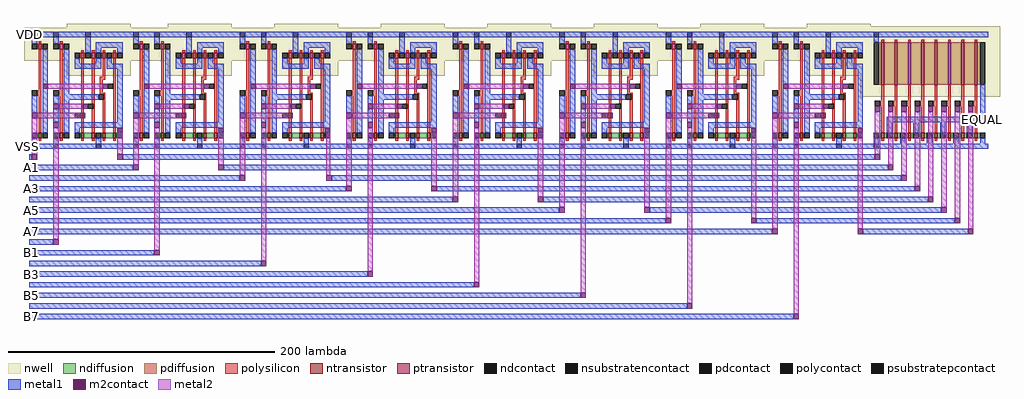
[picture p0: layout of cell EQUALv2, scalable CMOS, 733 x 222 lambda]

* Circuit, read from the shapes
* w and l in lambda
.subckt EQUALv2 A0 A1 A2 A3 A4 A5 A6 A7 B0 B1 B2 B3 B4 B5 B6 B7 EQUAL VDD VSS
M1 XOR2_0/INV_1/Y A0 VSS VSS nfet w=4 l=2
M2 XOR2_0/INV_0/Y B0 VSS VSS nfet w=4 l=2
M3 n1 A0 NOR8_0/A VSS nfet w=4 l=2
M4 VSS B0 n1 VSS nfet w=4 l=2
M5 n2 XOR2_0/INV_0/Y VSS VSS nfet w=4 l=2
M6 NOR8_0/A XOR2_0/INV_1/Y n2 VSS nfet w=4 l=2
M7 XOR2_1/INV_1/Y A1 VSS VSS nfet w=4 l=2
M8 XOR2_1/INV_0/Y B1 VSS VSS nfet w=4 l=2
M9 n3 A1 NOR8_0/B VSS nfet w=4 l=2
M10 VSS B1 n3 VSS nfet w=4 l=2
M11 n4 XOR2_1/INV_0/Y VSS VSS nfet w=4 l=2
M12 NOR8_0/B XOR2_1/INV_1/Y n4 VSS nfet w=4 l=2
M13 XOR2_2/INV_1/Y A2 VSS VSS nfet w=4 l=2
M14 XOR2_2/INV_0/Y B2 VSS VSS nfet w=4 l=2
M15 n5 A2 NOR8_0/C VSS nfet w=4 l=2
M16 VSS B2 n5 VSS nfet w=4 l=2
M17 n6 XOR2_2/INV_0/Y VSS VSS nfet w=4 l=2
M18 NOR8_0/C XOR2_2/INV_1/Y n6 VSS nfet w=4 l=2
M19 XOR2_3/INV_1/Y A3 VSS VSS nfet w=4 l=2
M20 XOR2_3/INV_0/Y B3 VSS VSS nfet w=4 l=2
M21 n7 A3 NOR8_0/D VSS nfet w=4 l=2
M22 VSS B3 n7 VSS nfet w=4 l=2
M23 n8 XOR2_3/INV_0/Y VSS VSS nfet w=4 l=2
M24 NOR8_0/D XOR2_3/INV_1/Y n8 VSS nfet w=4 l=2
M25 XOR2_4/INV_1/Y A4 VSS VSS nfet w=4 l=2
M26 XOR2_4/INV_0/Y B4 VSS VSS nfet w=4 l=2
M27 n9 A4 NOR8_0/E VSS nfet w=4 l=2
M28 VSS B4 n9 VSS nfet w=4 l=2
M29 n10 XOR2_4/INV_0/Y VSS VSS nfet w=4 l=2
M30 NOR8_0/E XOR2_4/INV_1/Y n10 VSS nfet w=4 l=2
M31 XOR2_5/INV_1/Y A5 VSS VSS nfet w=4 l=2
M32 XOR2_5/INV_0/Y B5 VSS VSS nfet w=4 l=2
M33 n11 A5 NOR8_0/F VSS nfet w=4 l=2
M34 VSS B5 n11 VSS nfet w=4 l=2
M35 n12 XOR2_5/INV_0/Y VSS VSS nfet w=4 l=2
M36 NOR8_0/F XOR2_5/INV_1/Y n12 VSS nfet w=4 l=2
M37 XOR2_6/INV_1/Y A6 VSS VSS nfet w=4 l=2
M38 XOR2_6/INV_0/Y B6 VSS VSS nfet w=4 l=2
M39 n13 A6 NOR8_0/G VSS nfet w=4 l=2
M40 VSS B6 n13 VSS nfet w=4 l=2
M41 n14 XOR2_6/INV_0/Y VSS VSS nfet w=4 l=2
M42 NOR8_0/G XOR2_6/INV_1/Y n14 VSS nfet w=4 l=2
M43 XOR2_7/INV_1/Y A7 VSS VSS nfet w=4 l=2
M44 XOR2_7/INV_0/Y B7 VSS VSS nfet w=4 l=2
M45 n15 A7 NOR8_0/H VSS nfet w=4 l=2
M46 VSS B7 n15 VSS nfet w=4 l=2
M47 n16 XOR2_7/INV_0/Y VSS VSS nfet w=4 l=2
M48 NOR8_0/H XOR2_7/INV_1/Y n16 VSS nfet w=4 l=2
M49 EQUAL NOR8_0/A VSS VSS nfet w=4 l=2
M50 VSS NOR8_0/B EQUAL VSS nfet w=4 l=2
M51 EQUAL NOR8_0/C VSS VSS nfet w=4 l=2
M52 VSS NOR8_0/D EQUAL VSS nfet w=4 l=2
M53 EQUAL NOR8_0/E VSS VSS nfet w=4 l=2
M54 VSS NOR8_0/F EQUAL VSS nfet w=4 l=2
M55 EQUAL NOR8_0/G VSS VSS nfet w=4 l=2
M56 VSS NOR8_0/H EQUAL VSS nfet w=4 l=2
M57 XOR2_0/INV_1/Y A0 VDD VDD pfet w=4 l=2
M58 XOR2_0/INV_0/Y B0 VDD VDD pfet w=4 l=2
M59 VDD A0 n17 VDD pfet w=4 l=2
M60 n17 B0 VDD VDD pfet w=4 l=2
M61 NOR8_0/A XOR2_0/INV_0/Y n17 VDD pfet w=4 l=2
M62 n17 XOR2_0/INV_1/Y NOR8_0/A VDD pfet w=4 l=2
M63 XOR2_1/INV_1/Y A1 VDD VDD pfet w=4 l=2
M64 XOR2_1/INV_0/Y B1 VDD VDD pfet w=4 l=2
M65 VDD A1 n18 VDD pfet w=4 l=2
M66 n18 B1 VDD VDD pfet w=4 l=2
M67 NOR8_0/B XOR2_1/INV_0/Y n18 VDD pfet w=4 l=2
M68 n18 XOR2_1/INV_1/Y NOR8_0/B VDD pfet w=4 l=2
M69 XOR2_2/INV_1/Y A2 VDD VDD pfet w=4 l=2
M70 XOR2_2/INV_0/Y B2 VDD VDD pfet w=4 l=2
M71 VDD A2 n19 VDD pfet w=4 l=2
M72 n19 B2 VDD VDD pfet w=4 l=2
M73 NOR8_0/C XOR2_2/INV_0/Y n19 VDD pfet w=4 l=2
M74 n19 XOR2_2/INV_1/Y NOR8_0/C VDD pfet w=4 l=2
M75 XOR2_3/INV_1/Y A3 VDD VDD pfet w=4 l=2
M76 XOR2_3/INV_0/Y B3 VDD VDD pfet w=4 l=2
M77 VDD A3 n20 VDD pfet w=4 l=2
M78 n20 B3 VDD VDD pfet w=4 l=2
M79 NOR8_0/D XOR2_3/INV_0/Y n20 VDD pfet w=4 l=2
M80 n20 XOR2_3/INV_1/Y NOR8_0/D VDD pfet w=4 l=2
M81 XOR2_4/INV_1/Y A4 VDD VDD pfet w=4 l=2
M82 XOR2_4/INV_0/Y B4 VDD VDD pfet w=4 l=2
M83 VDD A4 n21 VDD pfet w=4 l=2
M84 n21 B4 VDD VDD pfet w=4 l=2
M85 NOR8_0/E XOR2_4/INV_0/Y n21 VDD pfet w=4 l=2
M86 n21 XOR2_4/INV_1/Y NOR8_0/E VDD pfet w=4 l=2
M87 XOR2_5/INV_1/Y A5 VDD VDD pfet w=4 l=2
M88 XOR2_5/INV_0/Y B5 VDD VDD pfet w=4 l=2
M89 VDD A5 n22 VDD pfet w=4 l=2
M90 n22 B5 VDD VDD pfet w=4 l=2
M91 NOR8_0/F XOR2_5/INV_0/Y n22 VDD pfet w=4 l=2
M92 n22 XOR2_5/INV_1/Y NOR8_0/F VDD pfet w=4 l=2
M93 XOR2_6/INV_1/Y A6 VDD VDD pfet w=4 l=2
M94 XOR2_6/INV_0/Y B6 VDD VDD pfet w=4 l=2
M95 VDD A6 n23 VDD pfet w=4 l=2
M96 n23 B6 VDD VDD pfet w=4 l=2
M97 NOR8_0/G XOR2_6/INV_0/Y n23 VDD pfet w=4 l=2
M98 n23 XOR2_6/INV_1/Y NOR8_0/G VDD pfet w=4 l=2
M99 XOR2_7/INV_1/Y A7 VDD VDD pfet w=4 l=2
M100 XOR2_7/INV_0/Y B7 VDD VDD pfet w=4 l=2
M101 VDD A7 n24 VDD pfet w=4 l=2
M102 n24 B7 VDD VDD pfet w=4 l=2
M103 NOR8_0/H XOR2_7/INV_0/Y n24 VDD pfet w=4 l=2
M104 n24 XOR2_7/INV_1/Y NOR8_0/H VDD pfet w=4 l=2
M105 n25 NOR8_0/A VDD VDD pfet w=32 l=2
M106 n26 NOR8_0/B n25 VDD pfet w=32 l=2
M107 n27 NOR8_0/C n26 VDD pfet w=32 l=2
M108 n28 NOR8_0/D n27 VDD pfet w=32 l=2
M109 n29 NOR8_0/E n28 VDD pfet w=32 l=2
M110 n30 NOR8_0/F n29 VDD pfet w=32 l=2
M111 n31 NOR8_0/G n30 VDD pfet w=32 l=2
M112 EQUAL NOR8_0/H n31 VDD pfet w=32 l=2
.ends

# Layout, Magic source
magic
tech scmos
<< nwell >>
rect 2 84 724 88
<< metal1 >>
rect 2 84 724 88
rect 22 20 26 30
rect 98 20 102 30
rect 178 20 182 30
rect 258 20 262 30
rect 338 20 342 30
rect 418 20 422 30
rect 498 20 502 30
rect 578 20 582 30
rect 718 20 722 24
rect 2 0 718 4
rect 722 0 724 4
rect 4 -8 6 -4
rect 74 -8 639 -4
rect 4 -16 82 -12
rect 150 -16 649 -12
rect 4 -24 162 -20
rect 231 -24 659 -20
rect 4 -32 242 -28
rect 310 -32 669 -28
rect 4 -40 322 -36
rect 390 -40 679 -36
rect 4 -48 402 -44
rect 470 -48 689 -44
rect 4 -56 482 -52
rect 550 -56 699 -52
rect 4 -64 562 -60
rect 630 -64 709 -60
rect 4 -72 22 -68
rect 4 -80 98 -76
rect 4 -88 178 -84
rect 4 -96 258 -92
rect 4 -104 338 -100
rect 4 -112 418 -108
rect 4 -120 498 -116
rect 4 -128 578 -124
<< m2contact >>
rect 22 16 26 20
rect 98 16 102 20
rect 178 16 182 20
rect 258 16 262 20
rect 338 16 342 20
rect 418 16 422 20
rect 498 16 502 20
rect 639 28 643 32
rect 649 28 653 32
rect 659 28 663 32
rect 669 28 673 32
rect 679 28 683 32
rect 689 28 693 32
rect 699 28 703 32
rect 709 28 713 32
rect 578 16 582 20
rect 70 12 74 16
rect 146 12 150 16
rect 226 12 230 16
rect 306 12 310 16
rect 386 12 390 16
rect 466 12 470 16
rect 546 12 550 16
rect 626 12 630 16
rect 6 -8 10 -4
rect 70 -8 74 -4
rect 639 -8 643 -4
rect 82 -16 86 -12
rect 146 -16 150 -12
rect 649 -16 653 -12
rect 162 -24 166 -20
rect 227 -24 231 -20
rect 659 -24 663 -20
rect 242 -32 246 -28
rect 306 -32 310 -28
rect 669 -32 673 -28
rect 322 -40 326 -36
rect 386 -40 390 -36
rect 679 -40 683 -36
rect 402 -48 406 -44
rect 466 -48 470 -44
rect 689 -48 693 -44
rect 482 -56 486 -52
rect 546 -56 550 -52
rect 699 -56 703 -52
rect 562 -64 566 -60
rect 626 -64 630 -60
rect 709 -64 713 -60
rect 22 -72 26 -68
rect 98 -80 102 -76
rect 178 -88 182 -84
rect 258 -96 262 -92
rect 338 -104 342 -100
rect 418 -112 422 -108
rect 498 -120 502 -116
rect 578 -128 582 -124
<< metal2 >>
rect 6 -4 10 23
rect 22 -68 26 16
rect 70 -4 74 12
rect 82 -12 86 23
rect 98 -76 102 16
rect 146 -12 150 12
rect 162 -20 166 23
rect 178 -84 182 16
rect 227 -20 230 12
rect 242 -28 246 23
rect 258 -92 262 16
rect 306 -28 310 12
rect 322 -36 326 23
rect 338 -100 342 16
rect 386 -36 390 12
rect 402 -44 406 23
rect 418 -108 422 16
rect 466 -44 470 12
rect 482 -52 486 23
rect 498 -116 502 16
rect 546 -52 550 12
rect 562 -60 566 23
rect 578 -124 582 16
rect 626 -60 630 12
rect 639 -4 643 28
rect 649 -12 653 28
rect 659 -20 663 28
rect 669 -28 673 28
rect 679 -36 683 28
rect 689 -44 693 28
rect 699 -52 703 28
rect 709 -60 713 28
use XOR2  XOR2_0
transform 1 0 36 0 1 0
box -36 0 44 94
use XOR2  XOR2_1
transform 1 0 112 0 1 0
box -36 0 44 94
use XOR2  XOR2_2
transform 1 0 192 0 1 0
box -36 0 44 94
use XOR2  XOR2_3
transform 1 0 272 0 1 0
box -36 0 44 94
use XOR2  XOR2_4
transform 1 0 352 0 1 0
box -36 0 44 94
use XOR2  XOR2_5
transform 1 0 432 0 1 0
box -36 0 44 94
use XOR2  XOR2_6
transform 1 0 512 0 1 0
box -36 0 44 94
use XOR2  XOR2_7
transform 1 0 592 0 1 0
box -36 0 44 94
use NOR8  NOR8_0
transform 1 0 636 0 1 0
box -8 0 97 92
<< labels >>
rlabel metal1 720 22 720 22 1 EQUAL
rlabel metal1 4 86 4 86 3 VDD
rlabel metal1 3 2 3 2 3 VSS
rlabel metal1 5 -6 5 -6 3 A0
rlabel metal1 6 -14 6 -14 1 A1
rlabel metal1 6 -22 6 -22 1 A2
rlabel metal1 6 -30 6 -30 1 A3
rlabel metal1 6 -38 6 -38 1 A4
rlabel metal1 6 -46 6 -46 1 A5
rlabel metal1 6 -54 6 -54 1 A6
rlabel metal1 6 -62 6 -62 1 A7
rlabel metal1 6 -70 6 -70 1 B0
rlabel metal1 6 -78 6 -78 1 B1
rlabel metal1 6 -86 6 -86 1 B2
rlabel metal1 6 -94 6 -94 1 B3
rlabel metal1 6 -102 6 -102 1 B4
rlabel metal1 6 -110 6 -110 1 B5
rlabel metal1 6 -118 6 -118 1 B6
rlabel metal1 6 -126 6 -126 1 B7
<< end >>

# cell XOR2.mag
magic
tech scmos
<< nwell >>
rect -4 55 44 94
<< ntransistor >>
rect 7 8 9 12
rect 15 8 17 12
rect 23 8 25 12
rect 31 8 33 12
<< ptransistor >>
rect 7 68 9 72
rect 15 68 17 72
rect 23 68 25 72
rect 31 68 33 72
<< ndiffusion >>
rect 6 8 7 12
rect 9 8 15 12
rect 17 8 18 12
rect 22 8 23 12
rect 25 8 31 12
rect 33 8 34 12
<< pdiffusion >>
rect 6 68 7 72
rect 9 68 10 72
rect 14 68 15 72
rect 17 68 18 72
rect 22 68 23 72
rect 25 68 26 72
rect 30 68 31 72
rect 33 68 34 72
<< ndcontact >>
rect 2 8 6 12
rect 18 8 22 12
rect 34 8 38 12
<< pdcontact >>
rect 2 68 6 72
rect 10 68 14 72
rect 18 68 22 72
rect 26 68 30 72
rect 34 68 38 72
<< psubstratepcontact >>
rect 18 0 22 4
<< nsubstratencontact >>
rect 10 84 14 88
<< polysilicon >>
rect 7 72 9 74
rect 15 72 17 74
rect 23 72 25 74
rect 31 72 33 74
rect 7 27 9 68
rect 15 34 17 68
rect 23 54 25 68
rect 21 52 25 54
rect 21 42 23 52
rect 21 41 25 42
rect 24 37 25 41
rect 16 30 17 34
rect 6 23 9 27
rect 7 12 9 23
rect 15 12 17 30
rect 23 12 25 37
rect 31 12 33 68
rect 7 6 9 8
rect 15 6 17 8
rect 23 6 25 8
rect 31 6 33 8
<< polycontact >>
rect 27 45 31 49
rect 20 37 24 41
rect 12 30 16 34
rect 2 23 6 27
<< metal1 >>
rect 0 84 10 88
rect 14 84 40 88
rect 10 72 14 84
rect 18 76 38 80
rect 18 72 22 76
rect 34 72 38 76
rect 2 64 6 68
rect 18 64 22 68
rect 2 60 22 64
rect 26 64 30 68
rect 26 60 38 64
rect -30 27 -26 40
rect -14 34 -10 40
rect -2 37 20 41
rect 34 20 38 60
rect 2 16 38 20
rect 2 12 6 16
rect 34 12 38 16
rect 18 4 22 8
rect 0 0 18 4
rect 22 0 40 4
<< m2contact >>
rect -22 45 -18 49
rect 23 45 27 49
rect -14 30 -10 34
rect 8 30 12 34
rect -30 23 -26 27
rect 6 23 10 27
<< metal2 >>
rect -18 45 23 49
rect -10 30 8 34
rect -26 23 6 27
use INV  INV_0
transform 1 0 -16 0 1 0
box -4 0 20 91
use INV  INV_1
transform 1 0 -32 0 1 0
box -4 0 20 91
<< labels >>
rlabel psubstratepcontact 20 2 20 2 1 VSS
rlabel metal1 36 40 36 40 1 Y
rlabel metal1 12 86 12 86 1 VDD
rlabel m2contact -12 32 -12 32 1 B
rlabel m2contact -28 25 -28 25 1 A
<< end >>

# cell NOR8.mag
magic
tech scmos
<< nwell >>
rect -8 39 97 92
<< ntransistor >>
rect 8 8 10 12
rect 18 8 20 12
rect 28 8 30 12
rect 38 8 40 12
rect 48 8 50 12
rect 58 8 60 12
rect 68 8 70 12
rect 78 8 80 12
<< ptransistor >>
rect 8 48 10 80
rect 18 48 20 80
rect 28 48 30 80
rect 38 48 40 80
rect 48 48 50 80
rect 58 48 60 80
rect 68 48 70 80
rect 78 48 80 80
<< ndiffusion >>
rect 6 8 8 12
rect 10 8 12 12
rect 16 8 18 12
rect 20 8 22 12
rect 26 8 28 12
rect 30 8 32 12
rect 36 8 38 12
rect 40 8 42 12
rect 46 8 48 12
rect 50 8 52 12
rect 56 8 58 12
rect 60 8 62 12
rect 66 8 68 12
rect 70 8 72 12
rect 76 8 78 12
rect 80 8 82 12
<< pdiffusion >>
rect 6 48 8 80
rect 10 48 18 80
rect 20 48 28 80
rect 30 48 38 80
rect 40 48 48 80
rect 50 48 58 80
rect 60 48 68 80
rect 70 48 78 80
rect 80 48 82 80
<< ndcontact >>
rect 2 8 6 12
rect 12 8 16 12
rect 22 8 26 12
rect 32 8 36 12
rect 42 8 46 12
rect 52 8 56 12
rect 62 8 66 12
rect 72 8 76 12
rect 82 8 86 12
<< pdcontact >>
rect 2 48 6 80
rect 82 48 86 80
<< psubstratepcontact >>
rect 2 0 6 4
<< nsubstratencontact >>
rect 2 84 6 88
<< polysilicon >>
rect 8 80 10 82
rect 18 80 20 82
rect 28 80 30 82
rect 38 80 40 82
rect 48 80 50 82
rect 58 80 60 82
rect 68 80 70 82
rect 78 80 80 82
rect 8 36 10 48
rect 18 36 20 48
rect 28 36 30 48
rect 38 36 40 48
rect 48 36 50 48
rect 58 36 60 48
rect 68 36 70 48
rect 78 36 80 48
rect 7 32 10 36
rect 17 32 20 36
rect 27 32 30 36
rect 37 32 40 36
rect 47 32 50 36
rect 57 32 60 36
rect 67 32 70 36
rect 77 32 80 36
rect 8 12 10 32
rect 18 12 20 32
rect 28 12 30 32
rect 38 12 40 32
rect 48 12 50 32
rect 58 12 60 32
rect 68 12 70 32
rect 78 12 80 32
rect 8 6 10 8
rect 18 6 20 8
rect 28 6 30 8
rect 38 6 40 8
rect 48 6 50 8
rect 58 6 60 8
rect 68 6 70 8
rect 78 6 80 8
<< polycontact >>
rect 3 32 7 36
rect 13 32 17 36
rect 23 32 27 36
rect 33 32 37 36
rect 43 32 47 36
rect 53 32 57 36
rect 63 32 67 36
rect 73 32 77 36
<< metal1 >>
rect 0 84 2 88
rect 6 84 88 88
rect 2 80 6 84
rect 82 24 86 48
rect 12 20 86 24
rect 12 12 16 20
rect 32 12 36 20
rect 52 12 56 20
rect 72 12 76 20
rect 2 4 6 8
rect 22 4 26 8
rect 42 4 46 8
rect 62 4 66 8
rect 82 4 86 8
rect 0 0 2 4
rect 6 0 88 4
<< labels >>
rlabel psubstratepcontact 4 2 4 2 1 VSS
rlabel nsubstratencontact 4 86 4 86 1 VDD
rlabel polycontact 5 34 5 34 1 A
rlabel polycontact 15 34 15 34 1 B
rlabel polycontact 25 34 25 34 1 C
rlabel polycontact 35 34 35 34 1 D
rlabel polycontact 45 34 45 34 1 E
rlabel polycontact 55 34 55 34 1 F
rlabel polycontact 65 34 65 34 1 G
rlabel polycontact 75 34 75 34 1 H
rlabel metal1 84 32 84 32 1 Y
<< end >>

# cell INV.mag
magic
tech scmos
<< nwell >>
rect -4 66 20 91
<< ntransistor >>
rect 7 8 9 12
<< ptransistor >>
rect 7 75 9 79
<< ndiffusion >>
rect 6 8 7 12
rect 9 8 10 12
<< pdiffusion >>
rect 6 75 7 79
rect 9 75 10 79
<< ndcontact >>
rect 2 8 6 12
rect 10 8 14 12
<< pdcontact >>
rect 2 75 6 79
rect 10 75 14 79
<< psubstratepcontact >>
rect 2 0 6 4
<< nsubstratencontact >>
rect 2 84 6 88
<< polysilicon >>
rect 7 79 9 81
rect 7 44 9 75
rect 6 40 9 44
rect 7 12 9 40
rect 7 6 9 8
<< polycontact >>
rect 2 40 6 44
<< metal1 >>
rect 0 84 2 88
rect 6 84 16 88
rect 2 79 6 84
rect 10 12 14 75
rect 2 4 6 8
rect 0 0 2 4
rect 6 0 16 4
<< labels >>
rlabel metal1 1 2 1 2 2 VSS
rlabel metal1 12 17 12 17 1 Y
rlabel metal1 1 86 1 86 4 VDD
rlabel polycontact 4 42 4 42 1 A
<< end >>
